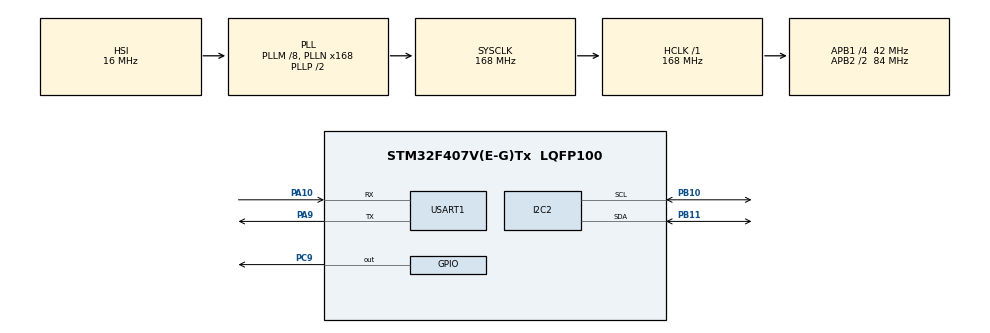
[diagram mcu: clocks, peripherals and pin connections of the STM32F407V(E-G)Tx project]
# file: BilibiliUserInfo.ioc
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Dma.I2C2_TX.0.Direction=DMA_MEMORY_TO_PERIPH
Dma.I2C2_TX.0.FIFOMode=DMA_FIFOMODE_DISABLE
Dma.I2C2_TX.0.Instance=DMA1_Stream7
Dma.I2C2_TX.0.MemDataAlignment=DMA_MDATAALIGN_BYTE
Dma.I2C2_TX.0.MemInc=DMA_MINC_ENABLE
Dma.I2C2_TX.0.Mode=DMA_NORMAL
Dma.I2C2_TX.0.PeriphDataAlignment=DMA_PDATAALIGN_BYTE
Dma.I2C2_TX.0.PeriphInc=DMA_PINC_DISABLE
Dma.I2C2_TX.0.Priority=DMA_PRIORITY_LOW
Dma.Request0=I2C2_TX
Mcu.Family=STM32F4
Mcu.Name=STM32F407V(E-G)Tx
Mcu.Package=LQFP100
NVIC.DMA1_Stream7_IRQn=true\:0\:0\:false\:false\:true\:false\:true\:true
NVIC.I2C2_EV_IRQn=true\:0\:0\:false\:false\:true\:true\:true\:true
NVIC.PriorityGroup=NVIC_PRIORITYGROUP_4
PA10.Mode=Asynchronous
PA10.Signal=USART1_RX
PA9.Mode=Asynchronous
PA9.Signal=USART1_TX
PB10.Mode=I2C
PB10.Signal=I2C2_SCL
PB11.Mode=I2C
PB11.Signal=I2C2_SDA
PC9.Signal=GPIO_Output
PH0-OSC_IN.Mode=HSE-External-Oscillator
PH0-OSC_IN.Signal=RCC_OSC_IN
PH1-OSC_OUT.Mode=HSE-External-Oscillator
PH1-OSC_OUT.Signal=RCC_OSC_OUT
ProjectManager.HeapSize=0x200
ProjectManager.StackSize=0x400
ProjectManager.TargetToolchain=Makefile
RCC.48MHZClocksFreq_Value=84000000
RCC.AHBFreq_Value=168000000
RCC.APB1CLKDivider=RCC_HCLK_DIV4
RCC.APB1Freq_Value=42000000
RCC.APB1TimFreq_Value=84000000
RCC.APB2CLKDivider=RCC_HCLK_DIV2
RCC.APB2Freq_Value=84000000
RCC.APB2TimFreq_Value=168000000
RCC.CortexFreq_Value=168000000
RCC.HCLKFreq_Value=168000000
RCC.HSE_VALUE=16000000
RCC.HSI_VALUE=16000000
RCC.LSE_VALUE=32768
RCC.PLLM=8
RCC.PLLN=168
RCC.SYSCLKFreq_VALUE=168000000
RCC.SYSCLKSource=RCC_SYSCLKSOURCE_PLLCLK
RCC.VCOOutputFreq_Value=336000000
USART1.VirtualMode=VM_ASYNC
board=custom

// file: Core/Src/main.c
/* USER CODE BEGIN Header */
/**
 ******************************************************************************
 * @file           : main.c
 * @brief          : Main program body
 ******************************************************************************
 * @attention
 *
 * Copyright (c) 2023 STMicroelectronics.
 * All rights reserved.
 *
 * This software is licensed under terms that can be found in the LICENSE file
 * in the root directory of this software component.
 * If no LICENSE file comes with this software, it is provided AS-IS.
 *
 ******************************************************************************
 */
/* USER CODE END Header */
#include "main.h"

#include "dma.h"
#include "gpio.h"
#include "i2c.h"
#include "usart.h"

/* USER CODE BEGIN Includes */
#include "def.h"
#include "log.h"
#include "ssd1306.h"
/* USER CODE END Includes */

void SystemClock_Config(void);

int main(void) {

  /* MCU Configuration--------------------------------------------------------*/

  /* Reset of all peripherals, Initializes the Flash interface and the Systick.
   */
  HAL_Init();

  /* Configure the system clock */
  SystemClock_Config();

  /* Initialize all configured peripherals */
  MX_GPIO_Init();
  MX_DMA_Init();
  MX_USART1_UART_Init();
  MX_I2C2_Init();
  /* USER CODE BEGIN 2 */
  HAL_Delay(20);
  SSD1306_Init(&hi2c2, true);
  /* USER CODE END 2 */

  /* Infinite loop */
  /* USER CODE BEGIN WHILE */
  int cur_following = 0;
  int cur_follower = 0;
  HAL_GPIO_WritePin(GPIOC, GPIO_PIN_9, GPIO_PIN_SET);
  while (1) {
    HAL_UART_Receive(&huart1, (uint8_t *)&G_USER_INFO, sizeof(G_USER_INFO), -1);

    SSD1306_Fill(0x00);
    SSD1306_Printf(10, 10, FONT_6x8, "Following: %d", G_USER_INFO.following);
    SSD1306_Printf(10, 30, FONT_6x8, "Follower: %d", G_USER_INFO.follower);
    SSD1306_Update();

    if (G_USER_INFO.following != cur_following ||
        G_USER_INFO.follower != cur_follower) {
      cur_following = G_USER_INFO.following;
      cur_follower = G_USER_INFO.follower;
      HAL_GPIO_WritePin(GPIOC, GPIO_PIN_9, GPIO_PIN_RESET);
      HAL_Delay(1000);
      HAL_GPIO_WritePin(GPIOC, GPIO_PIN_9, GPIO_PIN_SET);
    }
    /* USER CODE END WHILE */

  }
}

void SystemClock_Config(void) {
  RCC_OscInitTypeDef RCC_OscInitStruct = {0};
  RCC_ClkInitTypeDef RCC_ClkInitStruct = {0};

  /** Configure the main internal regulator output voltage
   */
  __HAL_RCC_PWR_CLK_ENABLE();
  __HAL_PWR_VOLTAGESCALING_CONFIG(PWR_REGULATOR_VOLTAGE_SCALE1);

  /** Initializes the RCC Oscillators according to the specified parameters
   * in the RCC_OscInitTypeDef structure.
   */
  RCC_OscInitStruct.OscillatorType = RCC_OSCILLATORTYPE_HSI;
  RCC_OscInitStruct.HSIState = RCC_HSI_ON;
  RCC_OscInitStruct.HSICalibrationValue = RCC_HSICALIBRATION_DEFAULT;
  RCC_OscInitStruct.PLL.PLLState = RCC_PLL_ON;
  RCC_OscInitStruct.PLL.PLLSource = RCC_PLLSOURCE_HSI;
  RCC_OscInitStruct.PLL.PLLM = 8;
  RCC_OscInitStruct.PLL.PLLN = 168;
  RCC_OscInitStruct.PLL.PLLP = RCC_PLLP_DIV2;
  RCC_OscInitStruct.PLL.PLLQ = 4;
  if (HAL_RCC_OscConfig(&RCC_OscInitStruct) != HAL_OK) {
    Error_Handler();
  }

  /** Initializes the CPU, AHB and APB buses clocks
   */
  RCC_ClkInitStruct.ClockType = RCC_CLOCKTYPE_HCLK | RCC_CLOCKTYPE_SYSCLK |
                                RCC_CLOCKTYPE_PCLK1 | RCC_CLOCKTYPE_PCLK2;
  RCC_ClkInitStruct.SYSCLKSource = RCC_SYSCLKSOURCE_PLLCLK;
  RCC_ClkInitStruct.AHBCLKDivider = RCC_SYSCLK_DIV1;
  RCC_ClkInitStruct.APB1CLKDivider = RCC_HCLK_DIV4;
  RCC_ClkInitStruct.APB2CLKDivider = RCC_HCLK_DIV2;

  if (HAL_RCC_ClockConfig(&RCC_ClkInitStruct, FLASH_LATENCY_5) != HAL_OK) {
    Error_Handler();
  }
}

/* USER CODE BEGIN 4 */
/**
 * @description: 串口接收中断服务函数
 * @return {*}
 */
void HAL_UART_RxCpltCallback(UART_HandleTypeDef *huart) {
  if (huart->Instance == USART1) {
  }
}

/* USER CODE END 4 */

void Error_Handler(void) {
  __disable_irq();
  while (1) {
  }
}

#ifdef USE_FULL_ASSERT
/**
 * @brief  Reports the name of the source file and the source line number
 *         where the assert_param error has occurred.
 * @param  file: pointer to the source file name
 * @param  line: assert_param error line source number
 * @retval None
 */
void assert_failed(uint8_t *file, uint32_t line) {
  /* USER CODE BEGIN 6 */
  /* User can add his own implementation to report the file name and line
     number, ex: printf("Wrong parameters value: file %s on line %d\r\n", file,
     line) */
  /* USER CODE END 6 */
}
#endif /* USE_FULL_ASSERT */
